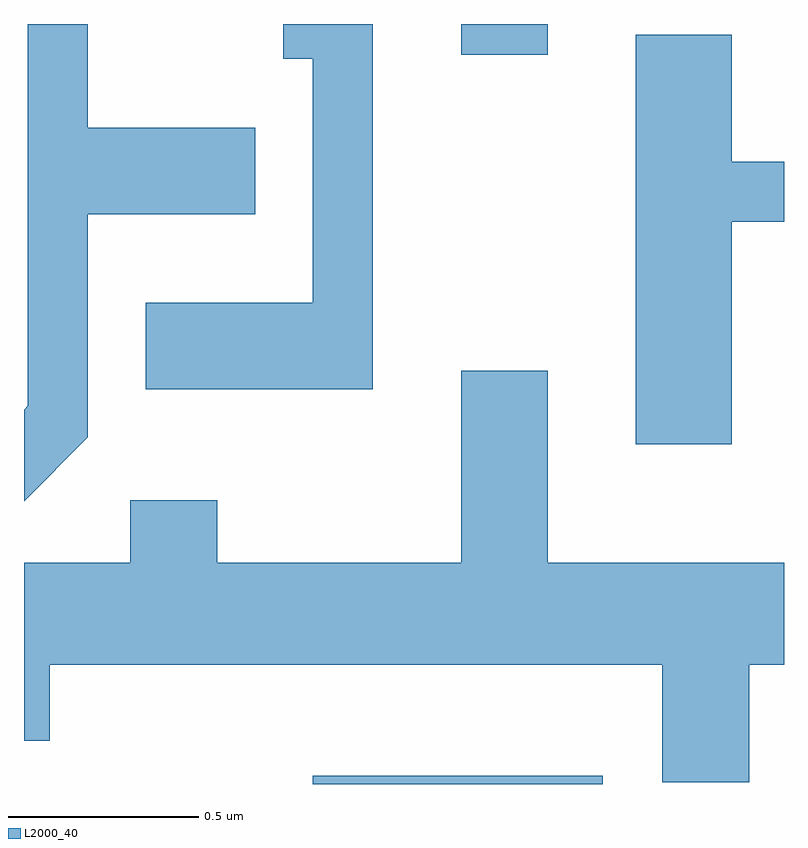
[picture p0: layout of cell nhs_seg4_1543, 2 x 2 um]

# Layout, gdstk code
import gdstk
lib = gdstk.Library(unit=1e-6, precision=1e-09)
def R(c, l, rs):  # rectangles x0, y0, x1, y1
    for r in rs: c.add(gdstk.rectangle(r[:2], r[2:], *l))
def P(c, l, *ps):  # polygons
    for p in ps: c.add(gdstk.Polygon(p, *l))
L2000_40 = (2000, 40)

nhs_seg4_1543 = lib.new_cell('nhs_seg4_1543')
R(nhs_seg4_1543, L2000_40, [(197.371,1289.982,198.134,1290.004), (197.761,1291.901,197.989,1291.982)])
P(nhs_seg4_1543, L2000_40, [(196.779,1290.894),(196.779,1291.481),(197.219,1291.481),(197.219,1291.709),(196.779,1291.709),(196.779,1291.982),(196.621,1291.982),(196.621,1290.977),(196.611,1290.967),(196.611,1290.726),(196.612,1290.726)],
  [(197.529,1291.982),(197.293,1291.982),(197.293,1291.891),(197.371,1291.891),(197.371,1291.249),(196.931,1291.249),(196.931,1291.021),(197.529,1291.021)],
  [(198.474,1291.461),(198.611,1291.461),(198.611,1291.619),(198.474,1291.619),(198.474,1291.954),(198.221,1291.954),(198.221,1290.876),(198.474,1290.876)],
  [(198.519,1290.296),(198.611,1290.296),(198.611,1290.564),(197.989,1290.564),(197.989,1291.069),(197.761,1291.069),(197.761,1290.564),(197.119,1290.564),(197.119,1290.729),(196.891,1290.729),(196.891,1290.564),(196.611,1290.564),(196.611,1290.096),(196.679,1290.096),(196.679,1290.296),(198.291,1290.296),(198.291,1289.986),(198.519,1289.986)])

lib.write_gds('nhs_seg4_1543.gds')
